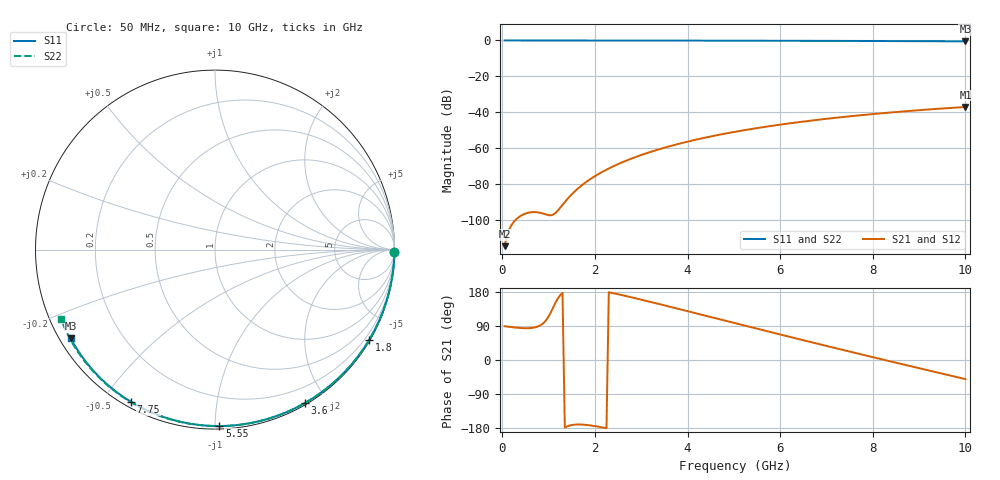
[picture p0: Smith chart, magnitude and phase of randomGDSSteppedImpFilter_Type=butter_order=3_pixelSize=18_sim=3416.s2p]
! freq	dB(S11)	phase(S11)	dB(S12)	phase(S12)
!  dB(S21)	phase(S21)	dB(S22)	phase(S22)
!S-par simulation data
#  GHz  S  DB  R 50
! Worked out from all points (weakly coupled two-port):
!   200 points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, 50 MHz to 10 GHz, reference 50 ohm
!   highest |S21| = -37.04 dB at 10 GHz (marker M1); lowest = -114.5 dB at 50 MHz (marker M2)
!   lowest |S11| = -0.5 dB at 10 GHz (marker M3), VSWR 34.47, Z = 1.57 - j14.1 ohm
!   |S11| at or under -10 dB: nowhere
!   |S22| runs from -0.5 to 0.0 dB; largest |S21 - S12| = 0
!   S11 on the Smith chart (normalised r, x): 50 MHz: open; 1.8 GHz: 0.03, -3.66; 3.6 GHz: 0.02, -1.75; 5.55 GHz: 0.02, -1.02; 7.75 GHz: 0.02, -0.59; 10 GHz: 0.03, -0.28
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0.05  -0.00 -0.9  -114.53 89.2  -114.53 89.2  -0.00 -0.9
0.45  -0.01 -7.8  -96.91 84.0  -96.91 84.0  -0.01 -8.1
0.9  -0.02 -15.4  -96.55 98.7  -96.55 98.7  -0.02 -16.2
1.3  -0.03 -22.2  -91.56 177.1  -91.56 177.1  -0.03 -23.2
1.75  -0.04 -29.7  -79.99 -170.7  -79.99 -170.7  -0.04 -31.1
1.8  -0.04 -30.5  -79.02 -171.2  -79.02 -171.2  -0.04 -32.0
1.95  -0.04 -33.0  -76.38 -173.4  -76.38 -173.4  -0.04 -34.6
2.1  -0.05 -35.5  -74.04 -176.5  -74.04 -176.5  -0.05 -37.2
2.3  -0.05 -38.8  -71.28 178.8  -71.28 178.8  -0.05 -40.6
2.5  -0.05 -42.0  -68.85 173.5  -68.85 173.5  -0.06 -44.0
2.9  -0.06 -48.5  -64.70 162.2  -64.70 162.2  -0.07 -50.7
3.4  -0.08 -56.4  -60.47 147.3  -60.47 147.3  -0.08 -59.0
3.6  -0.08 -59.5  -58.99 141.2  -58.99 141.2  -0.08 -62.3
4.3  -0.10 -70.2  -54.56 119.6  -54.56 119.6  -0.10 -73.5
5.05  -0.13 -81.4  -50.74 96.5  -50.74 96.5  -0.13 -85.1
5.55  -0.15 -88.6  -48.59 81.1  -48.59 81.1  -0.15 -92.6
6.1  -0.17 -96.4  -46.51 64.3  -46.51 64.3  -0.18 -100.7
6.7  -0.20 -104.7  -44.52 46.1  -44.52 46.1  -0.21 -109.4
7.75  -0.28 -118.8  -41.59 14.8  -41.59 14.8  -0.29 -124.3
8.35  -0.33 -126.8  -40.17 -2.8  -40.17 -2.8  -0.34 -132.7
9.2  -0.41 -138.0  -38.43 -27.4  -38.43 -27.4  -0.43 -144.5
10  -0.50 -148.5  -37.04 -50.4  -37.04 -50.4  -0.52 -155.8
